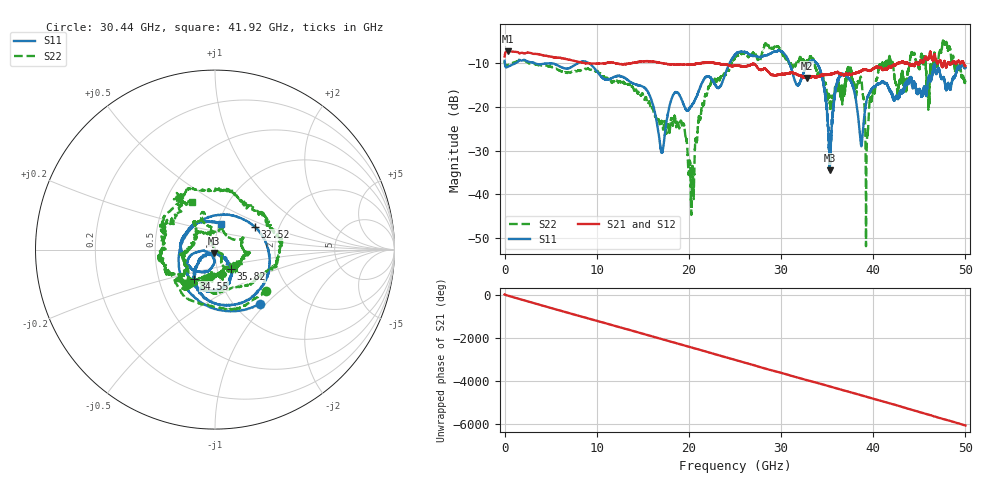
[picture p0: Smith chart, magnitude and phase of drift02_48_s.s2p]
!Created with skrf (http://scikit-rf.org).
# Hz S RI R 50.0
!freq ReS11 ImS11 ReS21 ImS21 ReS12 ImS12 ReS22 ImS22
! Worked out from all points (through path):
!   10001 points, 300 kHz to 50 GHz, reference 50 ohm
!   highest |S21| = -7.32 dB at 320.3 MHz (marker M1); lowest = -13.4 dB at 32.83 GHz (marker M2)
!   group delay of S21, straight-line fit = 335 ps
!   lowest |S11| = -34.5 dB at 35.26 GHz (marker M3), VSWR 1.04, Z = 49.4 - j1.8 ohm
!   |S11| at or under -10 dB: 3.225 GHz to 8.006 GHz (4.781 GHz wide, 85.1 % of centre); 9.107 GHz to 24.41 GHz (15.31 GHz wide, 91.3 % of centre); 33.85 GHz to end of sweep (the widest 3 of 8)
!   |S22| runs from -51.8 to -4.9 dB; largest |S21 - S12| = 0.015
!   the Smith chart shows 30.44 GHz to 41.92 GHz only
!   S11 on the Smith chart (normalised r, x): 30.44 GHz: 1.29, -0.92; 32.52 GHz: 1.51, +0.41; 34.55 GHz: 0.75, -0.25; 35.82 GHz: 1.16, -0.26; 41.92 GHz: 1.02, +0.29
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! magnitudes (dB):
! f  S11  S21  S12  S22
! 300 kHz  -9.5  -8.5  -8.5  -9.5
! 320.3 MHz  -10.9  -7.3  -7.3  -10.6
! 8.335 GHz  -9.7  -9.9  -9.9  -11.6
! 16.67 GHz  -25.6  -9.9  -9.9  -22.9
! 19.31 GHz  -18.9  -10.4  -10.3  -24.5
! 20.37 GHz  -19.5  -10.4  -10.3  -34.9
! 21.94 GHz  -13.1  -9.9  -10.0  -17.2
! 25 GHz  -8.2  -10.6  -10.6  -9.0
! 30.44 GHz  -8.1  -12.5  -12.5  -8.7
! 32.52 GHz  -11.8  -13.2  -13.3  -9.7
! 32.83 GHz  -10.6  -13.4  -13.6  -9.5
! 33.34 GHz  -9.5  -13.1  -13.2  -9.0
! 34.55 GHz  -14.0  -12.7  -12.6  -12.8
! 35.26 GHz  -34.5  -12.6  -12.6  -18.0
! 35.82 GHz  -17.0  -12.3  -12.4  -16.1
! 37.37 GHz  -13.6  -12.5  -12.6  -11.6
! 38.56 GHz  -26.2  -12.0  -11.9  -13.8
! 39.32 GHz  -18.2  -11.6  -11.6  -27.6
! 41.67 GHz  -15.7  -10.9  -11.0  -9.7
! 41.92 GHz  -16.8  -10.9  -10.9  -10.7
! 47.76 GHz  -14.4  -9.8  -9.7  -5.5
! 50 GHz  -11.2  -10.8  -10.8  -14.4
